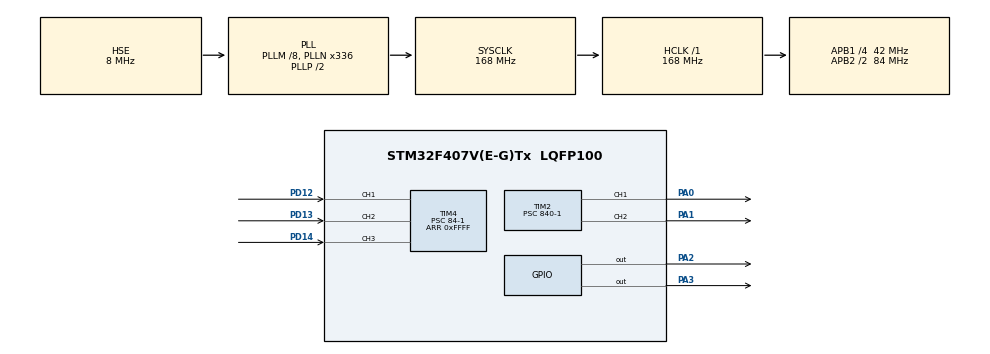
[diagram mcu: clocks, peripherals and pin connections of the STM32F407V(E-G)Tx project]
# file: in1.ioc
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Mcu.Family=STM32F4
Mcu.Name=STM32F407V(E-G)Tx
Mcu.Package=LQFP100
NVIC.PriorityGroup=NVIC_PRIORITYGROUP_4
NVIC.TIM4_IRQn=true\:0\:0\:false\:false\:true\:true\:true\:true
PA0-WKUP.Signal=S_TIM2_CH1_ETR
PA1.Signal=S_TIM2_CH2
PA13.Mode=Serial_Wire
PA13.Signal=SYS_JTMS-SWDIO
PA14.Mode=Serial_Wire
PA14.Signal=SYS_JTCK-SWCLK
PA2.Signal=GPIO_Output
PA3.Signal=GPIO_Output
PD12.Signal=S_TIM4_CH1
PD13.Signal=S_TIM4_CH2
PD14.Signal=S_TIM4_CH3
PH0-OSC_IN.Mode=HSE-External-Oscillator
PH0-OSC_IN.Signal=RCC_OSC_IN
PH1-OSC_OUT.Mode=HSE-External-Oscillator
PH1-OSC_OUT.Signal=RCC_OSC_OUT
ProjectManager.HeapSize=0x200
ProjectManager.StackSize=0x400
ProjectManager.TargetToolchain=MDK-ARM V5.32
RCC.48MHZClocksFreq_Value=84000000
RCC.AHBFreq_Value=168000000
RCC.APB1CLKDivider=RCC_HCLK_DIV4
RCC.APB1Freq_Value=42000000
RCC.APB1TimFreq_Value=84000000
RCC.APB2CLKDivider=RCC_HCLK_DIV2
RCC.APB2Freq_Value=84000000
RCC.APB2TimFreq_Value=168000000
RCC.CortexFreq_Value=168000000
RCC.HCLKFreq_Value=168000000
RCC.HSE_VALUE=8000000
RCC.HSI_VALUE=16000000
RCC.LSE_VALUE=32768
RCC.PLLM=8
RCC.PLLN=336
RCC.PLLSourceVirtual=RCC_PLLSOURCE_HSE
RCC.SYSCLKFreq_VALUE=168000000
RCC.SYSCLKSource=RCC_SYSCLKSOURCE_PLLCLK
RCC.VCOOutputFreq_Value=336000000
SH.S_TIM2_CH1_ETR.0=TIM2_CH1,PWM Generation1 CH1
SH.S_TIM2_CH2.0=TIM2_CH2,PWM Generation2 CH2
SH.S_TIM4_CH1.0=TIM4_CH1,Input_Capture1_from_TI1
SH.S_TIM4_CH2.0=TIM4_CH2,Input_Capture2_from_TI2
SH.S_TIM4_CH3.0=TIM4_CH3,Input_Capture3_from_TI3
TIM2.Channel-PWM\ Generation1\ CH1=TIM_CHANNEL_1
TIM2.Channel-PWM\ Generation2\ CH2=TIM_CHANNEL_2
TIM2.Period=9999
TIM2.Prescaler=840-1
TIM4.Channel-Input_Capture1_from_TI1=TIM_CHANNEL_1
TIM4.Channel-Input_Capture2_from_TI2=TIM_CHANNEL_2
TIM4.Channel-Input_Capture3_from_TI3=TIM_CHANNEL_3
TIM4.ICPolarity_CH2=TIM_INPUTCHANNELPOLARITY_RISING
TIM4.Period=0xFFFF
TIM4.Prescaler=84-1
VP_TIM2_VS_ClockSourceINT.Mode=Internal
board=custom

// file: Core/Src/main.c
/* USER CODE BEGIN Header */
/**
  ******************************************************************************
  * @file           : main.c
  * @brief          : Main program body
  ******************************************************************************
  * @attention
  *
  * Copyright (c) 2022 STMicroelectronics.
  * All rights reserved.
  *
  * This software is licensed under terms that can be found in the LICENSE file
  * in the root directory of this software component.
  * If no LICENSE file comes with this software, it is provided AS-IS.
  *
  ******************************************************************************
  */
/* USER CODE END Header */
#include "main.h"

/* USER CODE BEGIN Includes */
#include "math.h"
/* USER CODE END Includes */

TIM_HandleTypeDef htim2;
TIM_HandleTypeDef htim4;

void SystemClock_Config(void);
static void MX_GPIO_Init(void);
static void MX_TIM2_Init(void);
static void MX_TIM4_Init(void);

/* USER CODE BEGIN 0 */
double IC_Val1 = 0;
double IC_Val2 = 0;
double IC_Val3 = 0;
double IC_Val4 = 0;
double IC_Val5 = 0;
double IC_Val6 = 0;
double Width1 = 0;
double Width2 = 0;
double Width3 = 0;
double Duty_Cycle1;
double Duty_Cycle2;
double var;
uint8_t Mode = 0;
uint16_t Scale = 5;
double k1 = 0;
double k2 = 0;
uint8_t Is_First_Captured1 = 0;
uint8_t Is_First_Captured2 = 0;
uint8_t Is_First_Captured3 = 0;

int check_number(double n){
    uint16_t flag;
    if (n >= 0) flag = 0;
    else if (n < 0) flag = 1;
    return flag;
}

// 2 cau H tren phan cung bi nguoc chieu
int check_number_inv(double n){
    uint16_t flag;
    if (n >= 0) flag = 1;
    else if (n < 0) flag = 0;
    return flag;
}
void HAL_TIM_IC_CaptureCallback(TIM_HandleTypeDef *htim)
{

// Channel 1 tren RC dieu khien tien lui
	 if (htim->Channel == HAL_TIM_ACTIVE_CHANNEL_1)
	 {
		   if (Is_First_Captured1 == 0)
       {
         IC_Val1 = HAL_TIM_ReadCapturedValue(htim, TIM_CHANNEL_1);
				 Is_First_Captured1 = 1;
				 __HAL_TIM_SET_CAPTUREPOLARITY(htim, TIM_CHANNEL_1, TIM_INPUTCHANNELPOLARITY_FALLING);

       }
			 else if (Is_First_Captured1 == 1)
       {
           IC_Val2 = HAL_TIM_ReadCapturedValue(htim, TIM_CHANNEL_1);
					 if(IC_Val2 > IC_Val1)
           {
               Width1 = IC_Val2 - IC_Val1;
           }
					 else if(IC_Val2 < IC_Val1)
           {
               Width1 = (0xFFFF-IC_Val1)+IC_Val2+1;
           }
					 Duty_Cycle1 = (Width1 - 1435);

					// Duty_Cycle1 = (Width1 - 14.5)*1000/5;
					 if ((Duty_Cycle1 > -15) && (Duty_Cycle1 < 15)) Duty_Cycle1 = 0;
					 else if (Duty_Cycle1 < -15) Duty_Cycle1 = Duty_Cycle1*10000/485;
					 else if (Duty_Cycle1 > 15) Duty_Cycle1 = Duty_Cycle1*10000/515;
				//	 else if (Duty_Cycle1 > 1000) Duty_Cycle1 = 1000;
           Is_First_Captured1 = 0;
					 __HAL_TIM_SET_CAPTUREPOLARITY(htim, TIM_CHANNEL_1, TIM_INPUTCHANNELPOLARITY_RISING);
					// __HAL_TIM_SET_COUNTER(htim,0);
       }
		 }

// Channel 4 tren RC dieu khien phai trai
	 if (htim->Channel == HAL_TIM_ACTIVE_CHANNEL_2)
	 {
		   if (Is_First_Captured2 == 0)
       {
         IC_Val3 = HAL_TIM_ReadCapturedValue(htim, TIM_CHANNEL_2);
				 Is_First_Captured2 = 1;
				 __HAL_TIM_SET_CAPTUREPOLARITY(htim, TIM_CHANNEL_2, TIM_INPUTCHANNELPOLARITY_FALLING);

       }
			 else if (Is_First_Captured2 == 1)
       {
           IC_Val4 = HAL_TIM_ReadCapturedValue(htim, TIM_CHANNEL_2);
					 if(IC_Val4 > IC_Val3)
           {
               Width2 = IC_Val4 - IC_Val3;
           }
					 else if(IC_Val4 < IC_Val3)
           {
               Width2 = (0xFFFF-IC_Val3)+IC_Val4+1;
           }
					 Duty_Cycle2 = (Width2 - 1628);									// sai lech trong controller nen dung 16.5
					 if ((Duty_Cycle2 > -15) && (Duty_Cycle2 < 15)) Duty_Cycle2 = 0;		// controller khong on dinh nen phai gioi han gia tri
					 else if (Duty_Cycle2 < -15) Duty_Cycle2 = Duty_Cycle2*Scale/503;
					 else if (Duty_Cycle2 > 15) Duty_Cycle2 = Duty_Cycle2*Scale/493;
           Is_First_Captured2 = 0;
					 __HAL_TIM_SET_CAPTUREPOLARITY(htim, TIM_CHANNEL_2, TIM_INPUTCHANNELPOLARITY_RISING);
					 //__HAL_TIM_SET_COUNTER(htim,0);
       }
		 }

// Channel 5 tren RC de chon Mode
	 if (htim->Channel == HAL_TIM_ACTIVE_CHANNEL_3)
	 {
		   if (Is_First_Captured3 == 0)
       {
         IC_Val5 = HAL_TIM_ReadCapturedValue(htim, TIM_CHANNEL_3);
				 Is_First_Captured3 = 1;
				 __HAL_TIM_SET_CAPTUREPOLARITY(htim, TIM_CHANNEL_3, TIM_INPUTCHANNELPOLARITY_FALLING);

       }
			 else if (Is_First_Captured3 == 1)
       {
           IC_Val6 = HAL_TIM_ReadCapturedValue(htim, TIM_CHANNEL_3);
					 if(IC_Val6 > IC_Val5)
           {
               Width3 = IC_Val6 - IC_Val5;
           }
					 else if(IC_Val6 < IC_Val5)
           {
               Width3 = (0xFFFF-IC_Val5)+IC_Val6+1;
           }
					 //Duty_Cycle2 = (Width2 - 1628);									// sai lech trong controller nen dung 16.5
					 if (fabs(Width3 - 1000) < 5) Mode = 1;
					 else if (fabs(Width3 - 1500) < 5) Mode = 2;
					 else if (fabs(Width3 - 2000) < 5) Mode = 3;
           Is_First_Captured3 = 0;
					 __HAL_TIM_SET_CAPTUREPOLARITY(htim, TIM_CHANNEL_3, TIM_INPUTCHANNELPOLARITY_RISING);
					 //__HAL_TIM_SET_COUNTER(htim,0);
       }
		 }

// Xuat xung PWM
		switch (Mode)
		{
			case 1:		// Mode 1: Tot do cao nhat, tang nhanh theo ham mu. Nhuoc diem la re trai, re phai dap ung cham
			k1 = Duty_Cycle1*pow(1.1,-Duty_Cycle2)/pow(1.1,Scale);
			k2 = Duty_Cycle1*pow(1.1,Duty_Cycle2)/pow(1.1,Scale);
			HAL_GPIO_WritePin(GPIOA,GPIO_PIN_2,check_number_inv(k1));		// Banh phai
			__HAL_TIM_SET_COMPARE(&htim2, TIM_CHANNEL_1, fabs(k1));
			HAL_GPIO_WritePin(GPIOA,GPIO_PIN_3,check_number(k2));		// Banh trai
			__HAL_TIM_SET_COMPARE(&htim2, TIM_CHANNEL_2, fabs(k2));
			break;
			case 2:		// Mode 2: Di chuyen cham
			Duty_Cycle2 = Duty_Cycle2*10000/Scale;
			if ((Duty_Cycle1 == 0) && (Duty_Cycle2 == 0))
			{
				k1 = 0;
				k2 = 0;
			}
			else
			{
				k1 = (Duty_Cycle1*fabs(Duty_Cycle1) - Duty_Cycle2*fabs(Duty_Cycle2))/(fabs(Duty_Cycle1) + fabs(Duty_Cycle2));
				k2 = (Duty_Cycle1*fabs(Duty_Cycle1) + Duty_Cycle2*fabs(Duty_Cycle2))/(fabs(Duty_Cycle1) + fabs(Duty_Cycle2));
			}
			HAL_GPIO_WritePin(GPIOA,GPIO_PIN_2,check_number_inv(k1));		// Banh phai
			__HAL_TIM_SET_COMPARE(&htim2, TIM_CHANNEL_1, fabs(k1));
			HAL_GPIO_WritePin(GPIOA,GPIO_PIN_3,check_number(k2));		// Banh trai
			__HAL_TIM_SET_COMPARE(&htim2, TIM_CHANNEL_2, fabs(k2));
			break;
			case 3:		// Mode 3: Di chuyen on dinh. Re trai, re phai, tien lui dap ung nhanh. Nhuoc diem: Banh xe nhanh bi mon
			var = 4000 - fabs(Duty_Cycle2)*800;
			k1 = Duty_Cycle1*(6000 + var)/10000 - Duty_Cycle2*800;
			k2 = Duty_Cycle1*(6000 + var)/10000 + Duty_Cycle2*800;
			HAL_GPIO_WritePin(GPIOA,GPIO_PIN_2,check_number_inv(k1));		// Banh phai
			__HAL_TIM_SET_COMPARE(&htim2, TIM_CHANNEL_1, fabs(k1));
			HAL_GPIO_WritePin(GPIOA,GPIO_PIN_3,check_number(k2));		// Banh trai
			__HAL_TIM_SET_COMPARE(&htim2, TIM_CHANNEL_2, fabs(k2));
			break;
		}
}

/* USER CODE END 0 */

int main(void)
{

  /* MCU Configuration--------------------------------------------------------*/

  /* Reset of all peripherals, Initializes the Flash interface and the Systick. */
  HAL_Init();

  /* Configure the system clock */
  SystemClock_Config();

  /* Initialize all configured peripherals */
  MX_GPIO_Init();
  MX_TIM2_Init();
  MX_TIM4_Init();
  /* USER CODE BEGIN 2 */
	HAL_TIM_IC_Start_IT(&htim4, TIM_CHANNEL_1);
	HAL_TIM_IC_Start_IT(&htim4, TIM_CHANNEL_2);
	HAL_TIM_IC_Start_IT(&htim4, TIM_CHANNEL_3);
	HAL_TIM_PWM_Start(&htim2, TIM_CHANNEL_1);
	HAL_TIM_PWM_Start(&htim2, TIM_CHANNEL_2);
  /* USER CODE END 2 */

  /* Infinite loop */
  while (1)
  {

  }
}

void SystemClock_Config(void)
{
  RCC_OscInitTypeDef RCC_OscInitStruct = {0};
  RCC_ClkInitTypeDef RCC_ClkInitStruct = {0};

  /** Configure the main internal regulator output voltage
  */
  __HAL_RCC_PWR_CLK_ENABLE();
  __HAL_PWR_VOLTAGESCALING_CONFIG(PWR_REGULATOR_VOLTAGE_SCALE1);

  /** Initializes the RCC Oscillators according to the specified parameters
  * in the RCC_OscInitTypeDef structure.
  */
  RCC_OscInitStruct.OscillatorType = RCC_OSCILLATORTYPE_HSE;
  RCC_OscInitStruct.HSEState = RCC_HSE_ON;
  RCC_OscInitStruct.PLL.PLLState = RCC_PLL_ON;
  RCC_OscInitStruct.PLL.PLLSource = RCC_PLLSOURCE_HSE;
  RCC_OscInitStruct.PLL.PLLM = 8;
  RCC_OscInitStruct.PLL.PLLN = 336;
  RCC_OscInitStruct.PLL.PLLP = RCC_PLLP_DIV2;
  RCC_OscInitStruct.PLL.PLLQ = 4;
  if (HAL_RCC_OscConfig(&RCC_OscInitStruct) != HAL_OK)
  {
    Error_Handler();
  }

  /** Initializes the CPU, AHB and APB buses clocks
  */
  RCC_ClkInitStruct.ClockType = RCC_CLOCKTYPE_HCLK|RCC_CLOCKTYPE_SYSCLK
                              |RCC_CLOCKTYPE_PCLK1|RCC_CLOCKTYPE_PCLK2;
  RCC_ClkInitStruct.SYSCLKSource = RCC_SYSCLKSOURCE_PLLCLK;
  RCC_ClkInitStruct.AHBCLKDivider = RCC_SYSCLK_DIV1;
  RCC_ClkInitStruct.APB1CLKDivider = RCC_HCLK_DIV4;
  RCC_ClkInitStruct.APB2CLKDivider = RCC_HCLK_DIV2;

  if (HAL_RCC_ClockConfig(&RCC_ClkInitStruct, FLASH_LATENCY_5) != HAL_OK)
  {
    Error_Handler();
  }
}

static void MX_TIM2_Init(void)
{

  TIM_ClockConfigTypeDef sClockSourceConfig = {0};
  TIM_MasterConfigTypeDef sMasterConfig = {0};
  TIM_OC_InitTypeDef sConfigOC = {0};

  htim2.Instance = TIM2;
  htim2.Init.Prescaler = 840-1;
  htim2.Init.CounterMode = TIM_COUNTERMODE_UP;
  htim2.Init.Period = 9999;
  htim2.Init.ClockDivision = TIM_CLOCKDIVISION_DIV1;
  htim2.Init.AutoReloadPreload = TIM_AUTORELOAD_PRELOAD_DISABLE;
  if (HAL_TIM_Base_Init(&htim2) != HAL_OK)
  {
    Error_Handler();
  }
  sClockSourceConfig.ClockSource = TIM_CLOCKSOURCE_INTERNAL;
  if (HAL_TIM_ConfigClockSource(&htim2, &sClockSourceConfig) != HAL_OK)
  {
    Error_Handler();
  }
  if (HAL_TIM_PWM_Init(&htim2) != HAL_OK)
  {
    Error_Handler();
  }
  sMasterConfig.MasterOutputTrigger = TIM_TRGO_RESET;
  sMasterConfig.MasterSlaveMode = TIM_MASTERSLAVEMODE_DISABLE;
  if (HAL_TIMEx_MasterConfigSynchronization(&htim2, &sMasterConfig) != HAL_OK)
  {
    Error_Handler();
  }
  sConfigOC.OCMode = TIM_OCMODE_PWM1;
  sConfigOC.Pulse = 0;
  sConfigOC.OCPolarity = TIM_OCPOLARITY_HIGH;
  sConfigOC.OCFastMode = TIM_OCFAST_DISABLE;
  if (HAL_TIM_PWM_ConfigChannel(&htim2, &sConfigOC, TIM_CHANNEL_1) != HAL_OK)
  {
    Error_Handler();
  }
  if (HAL_TIM_PWM_ConfigChannel(&htim2, &sConfigOC, TIM_CHANNEL_2) != HAL_OK)
  {
    Error_Handler();
  }
  HAL_TIM_MspPostInit(&htim2);

}

static void MX_TIM4_Init(void)
{

  TIM_MasterConfigTypeDef sMasterConfig = {0};
  TIM_IC_InitTypeDef sConfigIC = {0};

  htim4.Instance = TIM4;
  htim4.Init.Prescaler = 84-1;
  htim4.Init.CounterMode = TIM_COUNTERMODE_UP;
  htim4.Init.Period = 0xFFFF;
  htim4.Init.ClockDivision = TIM_CLOCKDIVISION_DIV1;
  htim4.Init.AutoReloadPreload = TIM_AUTORELOAD_PRELOAD_DISABLE;
  if (HAL_TIM_IC_Init(&htim4) != HAL_OK)
  {
    Error_Handler();
  }
  sMasterConfig.MasterOutputTrigger = TIM_TRGO_RESET;
  sMasterConfig.MasterSlaveMode = TIM_MASTERSLAVEMODE_DISABLE;
  if (HAL_TIMEx_MasterConfigSynchronization(&htim4, &sMasterConfig) != HAL_OK)
  {
    Error_Handler();
  }
  sConfigIC.ICPolarity = TIM_INPUTCHANNELPOLARITY_RISING;
  sConfigIC.ICSelection = TIM_ICSELECTION_DIRECTTI;
  sConfigIC.ICPrescaler = TIM_ICPSC_DIV1;
  sConfigIC.ICFilter = 0;
  if (HAL_TIM_IC_ConfigChannel(&htim4, &sConfigIC, TIM_CHANNEL_1) != HAL_OK)
  {
    Error_Handler();
  }
  if (HAL_TIM_IC_ConfigChannel(&htim4, &sConfigIC, TIM_CHANNEL_2) != HAL_OK)
  {
    Error_Handler();
  }
  if (HAL_TIM_IC_ConfigChannel(&htim4, &sConfigIC, TIM_CHANNEL_3) != HAL_OK)
  {
    Error_Handler();
  }

}

static void MX_GPIO_Init(void)
{
  GPIO_InitTypeDef GPIO_InitStruct = {0};

  /* GPIO Ports Clock Enable */
  __HAL_RCC_GPIOH_CLK_ENABLE();
  __HAL_RCC_GPIOA_CLK_ENABLE();
  __HAL_RCC_GPIOD_CLK_ENABLE();

  /*Configure GPIO pin Output Level */
  HAL_GPIO_WritePin(GPIOA, GPIO_PIN_2|GPIO_PIN_3, GPIO_PIN_RESET);

  /*Configure GPIO pins : PA2 PA3 */
  GPIO_InitStruct.Pin = GPIO_PIN_2|GPIO_PIN_3;
  GPIO_InitStruct.Mode = GPIO_MODE_OUTPUT_PP;
  GPIO_InitStruct.Pull = GPIO_NOPULL;
  GPIO_InitStruct.Speed = GPIO_SPEED_FREQ_LOW;
  HAL_GPIO_Init(GPIOA, &GPIO_InitStruct);

}

void Error_Handler(void)
{
  __disable_irq();
  while (1)
  {
  }
}
